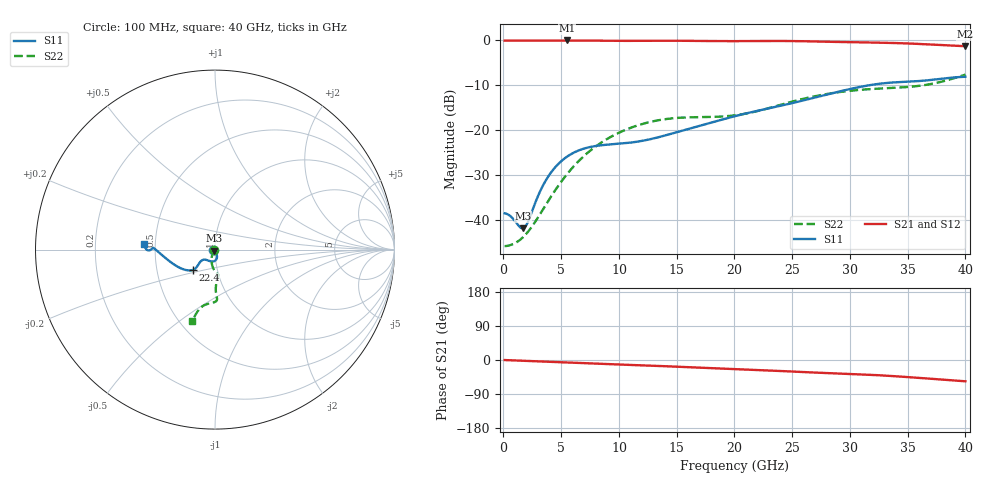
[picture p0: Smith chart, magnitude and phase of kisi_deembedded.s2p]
! B_s8_L1L3_bd_d200: kisi-fdtd, de-embedded with the 2×thru
# Hz S RI R 50
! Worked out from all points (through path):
!   400 points, 100 MHz to 40 GHz, reference 50 ohm
!   highest |S21| = -0.02 dB at 5.5 GHz (marker M1); lowest = -1.3 dB at 40 GHz (marker M2)
!   group delay of S21, straight-line fit = 3.67 ps
!   lowest |S11| = -41.8 dB at 1.7 GHz (marker M3), VSWR 1.02, Z = 49.5 - j0.637 ohm
!   |S11| at or under -10 dB: start of sweep to 31.61 GHz
!   |S22| runs from -45.7 to -7.6 dB; largest |S21 - S12| = 0.0097
!   S11 on the Smith chart (normalised r, x): 100 MHz: 0.98, -0.00; 22.4 GHz: 0.76, -0.18; 40 GHz: 0.44, +0.03
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1e8  -0.012 -0.00024  0.9959 -0.00211  0.9987 -0.00225  -0.00517 -3.32e-05
9e8  -0.00987 -0.00253  0.9954 -0.0188  0.9979 -0.0201  -0.00548 -0.000459
1.4e9  -0.00707 -0.00471  0.9949 -0.029  0.9969 -0.0308  -0.00594 -0.00106
1.7e9  -0.005 -0.00643  0.9945 -0.0351  0.9962 -0.0371  -0.00631 -0.00162
2.1e9  -0.00196 -0.00929  0.994 -0.043  0.9953 -0.0453  -0.00691 -0.00266
3e9  0.00492 -0.0181  0.9934 -0.0608  0.9935 -0.0632  -0.00872 -0.0064
3.7e9  0.00904 -0.0268  0.9932 -0.075  0.9925 -0.0772  -0.0105 -0.0109
4.5e9  0.0112 -0.0375  0.9928 -0.0921  0.9914 -0.0937  -0.0127 -0.0177
5.5e9  0.00946 -0.0501  0.9912 -0.1148  0.9894 -0.1154  -0.0156 -0.0286
6.8e9  0.000555 -0.0617  0.9858 -0.1446  0.9843 -0.1441  -0.0184 -0.0459
8.2e9  -0.0139 -0.0662  0.9769 -0.1741  0.9762 -0.1728  -0.0189 -0.0667
9.8e9  -0.0314 -0.0634  0.9669 -0.2028  0.9673 -0.2017  -0.0148 -0.0903
1.15e10  -0.0474 -0.0576  0.96 -0.2316  0.9609 -0.2312  -0.00574 -0.1122
1.34e10  -0.0623 -0.056  0.9533 -0.2674  0.954 -0.2679  0.00647 -0.1293
2.01e10  -0.1042 -0.1  0.8968 -0.3964  0.8964 -0.3956  0.0177 -0.1463
2.24e10  -0.1252 -0.1139  0.8785 -0.4428  0.8792 -0.4422  0.011 -0.1685
2.67e10  -0.2056 -0.0966  0.8186 -0.5284  0.8187 -0.5295  0.00497 -0.2357
2.98e10  -0.2808 -0.0427  0.7691 -0.5676  0.7675 -0.5675  0.0115 -0.2731
3.34e10  -0.338 0.00663  0.6987 -0.6253  0.6999 -0.6229  -0.0102 -0.2949
3.69e10  -0.3619 -0.00321  0.5882 -0.6825  0.5916 -0.686  -0.072 -0.3173
3.85e10  -0.3818 0.000642  0.5324 -0.7006  0.5315 -0.7075  -0.1001 -0.3488
4e10  -0.3929 0.0327  0.4791 -0.7152  0.471 -0.7206  -0.1263 -0.3968
